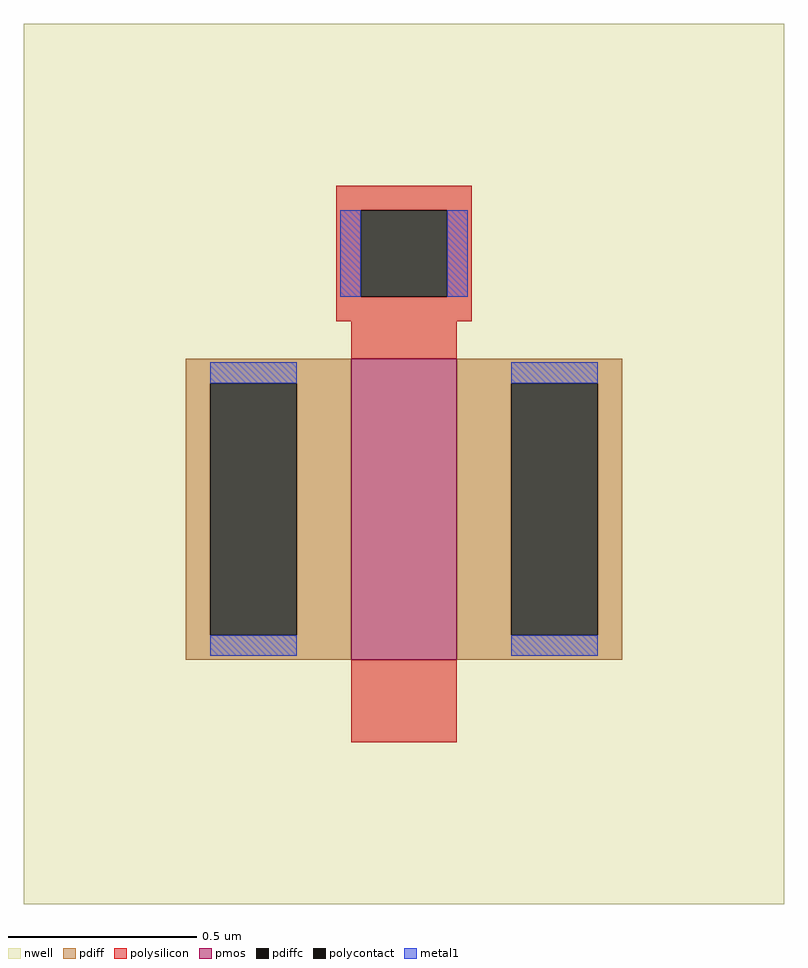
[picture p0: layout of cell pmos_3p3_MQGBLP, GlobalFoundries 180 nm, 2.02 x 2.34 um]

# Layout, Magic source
magic
tech gf180mcuC
magscale 1 10
<< nwell >>
rect -202 -234 202 234
<< pmos >>
rect -28 -104 28 56
<< pdiff >>
rect -116 43 -28 56
rect -116 -91 -103 43
rect -57 -91 -28 43
rect -116 -104 -28 -91
rect 28 43 116 56
rect 28 -91 57 43
rect 103 -91 116 43
rect 28 -104 116 -91
<< pdiffc >>
rect -103 -91 -57 43
rect 57 -91 103 43
<< polysilicon >>
rect -36 135 36 148
rect -36 89 -23 135
rect 23 89 36 135
rect -36 76 36 89
rect -28 56 28 76
rect -28 -148 28 -104
<< polycontact >>
rect -23 89 23 135
<< metal1 >>
rect -34 89 -23 135
rect 23 89 34 135
rect -103 43 -57 54
rect -103 -102 -57 -91
rect 57 43 103 54
rect 57 -102 103 -91
<< properties >>
string gencell pmos_3p3
string library gf180mcu
string parameters w 0.8 l 0.280 m 1 nf 1 diffcov 100 polycov 100 guard 0 glc 0 grc 0 gtc 0 gbc 0 tbcov 100 rlcov 100 topc 1 botc 0 poverlap 0 doverlap 1 lmin 0.28 wmin 0.22 full_metal 0 compatible {pmos_3p3 pmos_6p0}
<< end >>
